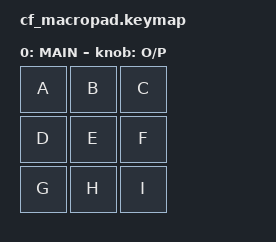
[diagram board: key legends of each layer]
#include <behaviors.dtsi>
#include <dt-bindings/zmk/keys.h>

/ {
    combos {
        compatible = "zmk,combos";

        bootloader {
            bindings = <&bootloader>;
            key-positions = <6 8 3 5>;
        };
    };

    keymap {
        compatible = "zmk,keymap";

        default_layer {
            label = "MAIN";
            bindings = <
&kp A  &kp B  &kp C
&kp D  &kp E  &kp F
&kp G  &kp H  &kp I
            >;

            sensor-bindings = <&inc_dec_kp O P>;
        };
    };
};
